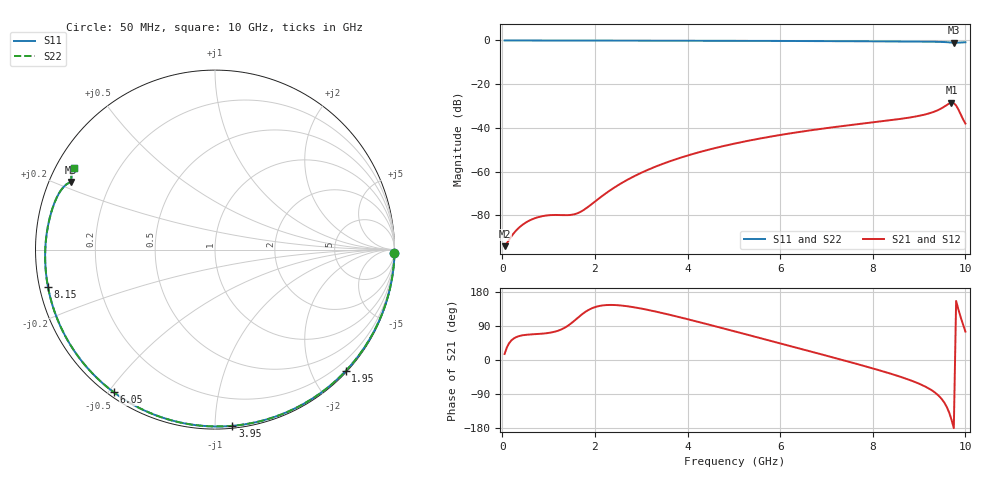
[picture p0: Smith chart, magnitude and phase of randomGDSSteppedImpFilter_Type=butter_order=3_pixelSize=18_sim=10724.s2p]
! freq	dB(S11)	phase(S11)	dB(S12)	phase(S12)
!  dB(S21)	phase(S21)	dB(S22)	phase(S22)
!S-par simulation data
#  GHz  S  DB  R 50
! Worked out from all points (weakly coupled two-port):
!   200 points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, 50 MHz to 10 GHz, reference 50 ohm
!   highest |S21| = -28.45 dB at 9.7 GHz (marker M1); lowest = -94.1 dB at 50 MHz (marker M2)
!   lowest |S11| = -1.1 dB at 9.75 GHz (marker M3), VSWR 16.35, Z = 3.21 + j11.1 ohm
!   |S11| at or under -10 dB: nowhere
!   |S22| runs from -1.1 to 0.0 dB; largest |S21 - S12| = 0
!   S11 on the Smith chart (normalised r, x): 50 MHz: open; 1.95 GHz: 0.02, -2.54; 3.95 GHz: 0.01, -1.10; 6.05 GHz: 0.02, -0.52; 8.15 GHz: 0.02, -0.11; 10 GHz: 0.05, +0.27
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0.05  -0.00 -1.1  -94.08 16.0  -94.08 16.0  -0.00 -1.1
0.75  -0.02 -16.8  -80.97 68.6  -80.97 68.6  -0.02 -16.8
1.45  -0.04 -32.2  -79.84 93.3  -79.84 93.3  -0.04 -32.2
1.6  -0.04 -35.4  -79.20 108.2  -79.20 108.2  -0.04 -35.4
1.75  -0.05 -38.6  -77.62 123.2  -77.62 123.2  -0.05 -38.6
1.95  -0.05 -42.9  -74.53 137.2  -74.53 137.2  -0.05 -42.9
2.6  -0.07 -56.7  -64.92 143.4  -64.92 143.4  -0.07 -56.7
3  -0.08 -65.0  -60.53 135.7  -60.53 135.7  -0.08 -65.0
3.4  -0.10 -73.2  -56.95 125.4  -56.95 125.4  -0.10 -73.2
3.95  -0.12 -84.3  -52.95 109.3  -52.95 109.3  -0.12 -84.3
5.05  -0.16 -106.0  -47.01 74.5  -47.01 74.5  -0.16 -106.0
6.05  -0.22 -125.3  -43.05 42.3  -43.05 42.3  -0.22 -125.3
6.7  -0.27 -138.0  -40.96 21.2  -40.96 21.2  -0.27 -138.0
7.45  -0.34 -152.9  -38.87 -3.5  -38.87 -3.5  -0.34 -152.9
8.15  -0.41 -167.5  -37.08 -27.5  -37.08 -27.5  -0.41 -167.5
8.35  -0.44 -171.9  -36.56 -34.8  -36.56 -34.8  -0.44 -171.9
9.2  -0.57 168.3  -33.45 -74.5  -33.45 -74.5  -0.57 168.3
9.4  -0.63 163.1  -31.93 -91.7  -31.93 -91.7  -0.63 163.1
9.7  -0.98 155.3  -28.45 -157.4  -28.45 -157.4  -0.98 155.3
9.75  -1.06 154.8  -28.66 -179.9  -28.66 -179.9  -1.06 154.8
9.85  -0.99 153.8  -31.63 132.9  -31.63 132.9  -0.99 153.7
10  -0.81 149.9  -38.01 74.9  -38.01 74.9  -0.81 149.9
